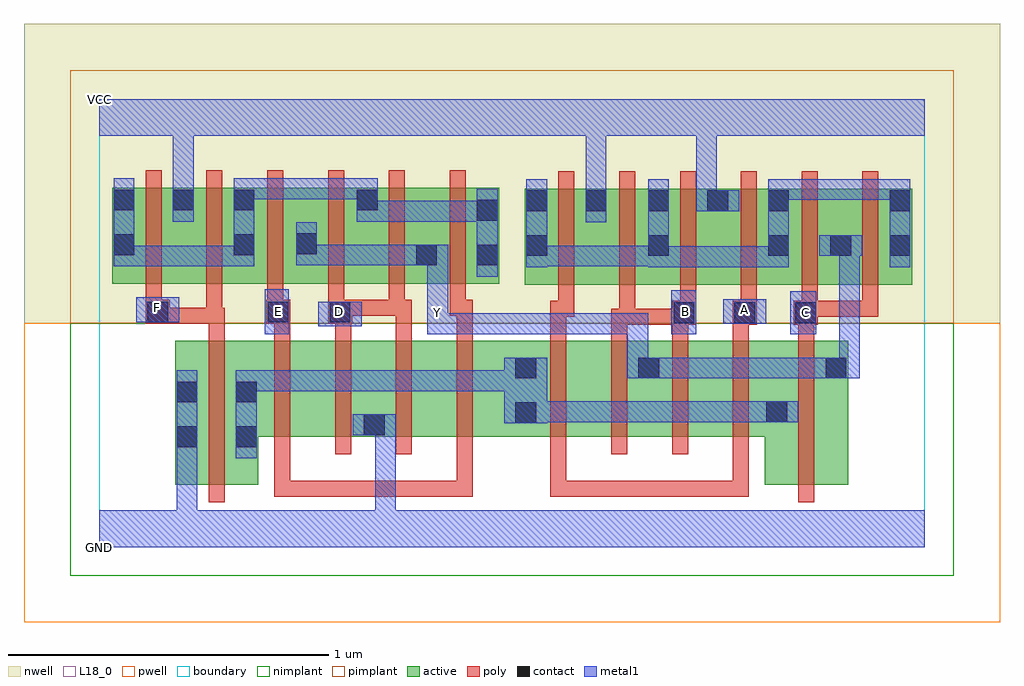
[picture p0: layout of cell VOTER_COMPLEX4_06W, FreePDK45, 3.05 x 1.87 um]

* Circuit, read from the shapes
.subckt VOTER_COMPLEX4_06W A B C D E F GND VCC Y
M1 n1 F GND VSUBS nfet w=0.45u l=0.05u
M2 n2 E n1 VSUBS nfet w=0.3u l=0.05u
M3 GND D n2 VSUBS nfet w=0.3u l=0.05u
M4 n3 D GND VSUBS nfet w=0.3u l=0.05u
M5 n1 E n3 VSUBS nfet w=0.3u l=0.05u
M6 n4 A n1 VSUBS nfet w=0.3u l=0.05u
M7 Y B n4 VSUBS nfet w=0.3u l=0.05u
M8 n5 B Y VSUBS nfet w=0.3u l=0.05u
M9 n1 A n5 VSUBS nfet w=0.3u l=0.05u
M10 Y C n1 VSUBS nfet w=0.45u l=0.05u
M11 VCC F n6 n7 pfet w=0.3u l=0.05u m=2
M12 Y E n6 n7 pfet w=0.3u l=0.05u m=2
M13 n6 D Y n7 pfet w=0.3u l=0.05u m=2
M14 VCC A n8 n7 pfet w=0.3u l=0.05u m=2
M15 n8 B VCC n7 pfet w=0.3u l=0.05u m=2
M16 Y C n8 n7 pfet w=0.3u l=0.05u m=2
.ends

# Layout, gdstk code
import gdstk
lib = gdstk.Library(unit=1e-6, precision=1e-09)
def R(c, l, rs):  # rectangles x0, y0, x1, y1
    for r in rs: c.add(gdstk.rectangle(r[:2], r[2:], *l))
def A(c, l, x, y, w, h, nx, ny, dx, dy):  # array of equal rectangles
    R(c, l, [(x+i*dx, y+j*dy, x+i*dx+w, y+j*dy+h) for i in range(nx) for j in range(ny)])
active = (1, 0)
pwell = (2, 0)
nwell = (3, 0)
nimplant = (4, 0)
pimplant = (5, 0)
poly = (9, 0)
contact = (10, 0)
metal1 = (11, 0)
L18_0 = (18, 0)
boundary = (235, 0)

voter_complex4_06w = lib.new_cell('VOTER_COMPLEX4_06W')
R(voter_complex4_06w, active, [(0.237,0.195,0.312,0.645), (0.237,0.195,0.497,0.645), (2.08,0.195,2.34,0.645), (2.265,0.195,2.34,0.645), (0.422,0.2,0.497,0.645), (2.08,0.2,2.155,0.46), (0.422,0.345,0.667,0.645), (0.667,0.345,0.897,0.645), (0.822,0.345,1.047,0.645), (0.822,0.345,0.897,0.517), (1.047,0.345,1.37,0.645), (1.295,0.345,1.37,0.597), (1.295,0.345,1.53,0.645), (1.53,0.345,1.755,0.645), (1.68,0.345,1.91,0.645), (1.68,0.345,1.755,0.597), (1.91,0.345,2.155,0.645), (1.33,0.82,1.405,1.12), (1.33,0.82,1.59,1.12), (1.515,0.82,1.59,1.12), (1.515,0.82,1.785,1.12), (1.71,0.82,1.785,1.12), (1.71,0.82,1.97,1.12), (1.895,0.82,2.16,1.12), (2.085,0.82,2.16,1.12), (2.085,0.82,2.355,1.12), (2.28,0.82,2.54,1.12), (2.465,0.82,2.54,1.12), (0.04,0.822,0.115,1.122), (0.04,0.822,0.3,1.122), (0.225,0.822,0.3,1.122), (0.225,0.822,0.49,1.122), (0.415,0.822,0.49,1.122), (0.415,0.822,0.685,1.122), (0.61,0.822,0.875,1.122), (0.8,0.822,1.06,1.122), (0.985,0.822,1.25,1.122), (1.175,0.822,1.25,1.09), (0.8,0.827,0.875,1.122), (1.895,0.827,1.97,1.12), (0.985,0.875,1.06,1.055), (2.28,0.905,2.355,1.055), (0.61,0.91,0.685,1.055)])
R(voter_complex4_06w, pwell, [(-0.235,-0.235,2.815,0.7)])
R(voter_complex4_06w, nwell, [(-0.235,0.7,2.815,1.635)])
R(voter_complex4_06w, nimplant, [(-0.09,-0.09,2.67,0.7)])
R(voter_complex4_06w, pimplant, [(-0.09,0.7,2.67,1.49)])
A(voter_complex4_06w, poly, 0.547, 0.29, 0.05, 0.41, 4, 1, 0.19, 0)
A(voter_complex4_06w, poly, 1.41, 0.29, 0.05, 0.41, 4, 1, 0.19, 0)
A(voter_complex4_06w, poly, 1.6, 0.65, 0.05, 0.095, 3, 1, 0.19, 0)
A(voter_complex4_06w, poly, 1.79, 0.695, 0.075, 0.075, 3, 1, 0.19, 0)
A(voter_complex4_06w, poly, 1.815, 0.72, 0.05, 0.095, 4, 1, 0.19, 0)
A(voter_complex4_06w, poly, 0.525, 0.722, 0.05, 0.095, 4, 1, 0.19, 0)
A(voter_complex4_06w, poly, 1.435, 0.765, 0.05, 0.41, 6, 1, 0.19, 0)
A(voter_complex4_06w, poly, 0.145, 0.767, 0.05, 0.41, 6, 1, 0.19, 0)
R(voter_complex4_06w, poly, [(0.342,0.14,0.392,0.7), (2.185,0.14,2.235,0.7), (0.547,0.157,0.597,0.207), (0.547,0.157,0.597,0.207), (0.547,0.157,0.597,0.207), (0.547,0.157,0.597,0.34), (0.547,0.157,0.822,0.207), (0.772,0.157,0.822,0.207), (0.772,0.157,0.822,0.207), (0.772,0.157,0.822,0.207), (0.772,0.157,1.012,0.207), (0.962,0.157,1.012,0.207), (0.962,0.157,1.012,0.207), (0.962,0.157,1.012,0.207), (0.962,0.157,1.167,0.207), (1.117,0.157,1.167,0.207), (1.117,0.157,1.167,0.34), (1.41,0.157,1.46,0.207), (1.41,0.157,1.46,0.207), (1.41,0.157,1.46,0.207), (1.41,0.157,1.46,0.34), (1.41,0.157,1.675,0.207), (1.625,0.157,1.675,0.207), (1.625,0.157,1.675,0.207), (1.625,0.157,1.675,0.207), (1.625,0.157,1.807,0.207), (1.757,0.157,1.807,0.207), (1.757,0.157,2.03,0.207), (1.98,0.157,2.03,0.207), (1.98,0.157,2.03,0.207), (1.98,0.157,2.03,0.207), (1.98,0.157,2.03,0.34), (0.342,0.65,0.392,0.747), (0.547,0.65,0.597,0.747), (0.737,0.65,0.787,0.747), (0.927,0.65,0.977,0.772), (1.117,0.65,1.167,0.772), (1.41,0.65,1.46,0.77), (2.185,0.65,2.235,0.745), (1.6,0.695,1.675,0.745), (1.625,0.695,1.84,0.745), (1.625,0.695,1.675,0.815), (1.79,0.695,1.84,0.745), (1.79,0.695,1.84,0.745), (0.145,0.697,0.22,0.772), (0.17,0.697,0.22,0.747), (0.17,0.697,0.22,0.747), (0.17,0.697,0.385,0.747), (0.335,0.697,0.385,0.817), (0.335,0.697,0.392,0.747), (0.522,0.697,0.597,0.772), (0.715,0.697,0.79,0.772), (1.41,0.72,1.485,0.77), (1.435,0.72,1.485,0.815), (2.195,0.72,2.435,0.77), (2.385,0.72,2.435,0.77), (2.385,0.72,2.435,0.77), (2.385,0.72,2.435,0.77), (0.145,0.722,0.195,0.817), (0.74,0.722,0.79,0.772), (0.74,0.722,0.79,0.772), (0.74,0.722,0.955,0.772), (0.905,0.722,0.977,0.772), (1.095,0.722,1.167,0.772)])
A(voter_complex4_06w, contact, 1.795, 0.7, 0.065, 0.065, 3, 1, 0.19, 0)
R(voter_complex4_06w, contact, [(0.242,0.312,0.307,0.377), (0.427,0.312,0.492,0.377), (0.827,0.35,0.892,0.415), (1.3,0.387,1.365,0.452), (2.085,0.39,2.15,0.455), (0.242,0.452,0.307,0.517), (0.427,0.452,0.492,0.517), (1.3,0.527,1.365,0.592), (1.685,0.527,1.75,0.592), (2.27,0.527,2.335,0.592), (0.15,0.702,0.215,0.767), (0.527,0.702,0.592,0.767), (0.72,0.702,0.785,0.767), (0.99,0.88,1.055,0.945), (1.18,0.88,1.245,0.945), (1.335,0.91,1.4,0.975), (1.715,0.91,1.78,0.975), (2.09,0.91,2.155,0.975), (2.285,0.91,2.35,0.975), (2.47,0.91,2.535,0.975), (0.045,0.912,0.11,0.977), (0.42,0.912,0.485,0.977), (0.615,0.915,0.68,0.98), (1.18,1.02,1.245,1.085), (1.335,1.05,1.4,1.115), (1.52,1.05,1.585,1.115), (1.715,1.05,1.78,1.115), (1.9,1.05,1.965,1.115), (2.09,1.05,2.155,1.115), (2.47,1.05,2.535,1.115), (0.045,1.052,0.11,1.117), (0.23,1.052,0.295,1.117), (0.42,1.052,0.485,1.117), (0.805,1.052,0.87,1.117)])
R(voter_complex4_06w, metal1, [(0,0,2.58,0.115), (0.242,0.05,0.307,0.342), (0.862,0.05,0.927,0.115), (0.862,0.05,0.927,0.115), (0.862,0.05,0.927,0.415), (0.242,0.277,0.307,0.342), (0.242,0.277,0.307,0.342), (0.242,0.277,0.307,0.552), (0.427,0.277,0.492,0.552), (0.792,0.35,0.927,0.415), (0.862,0.35,0.927,0.415), (0.862,0.35,0.927,0.415), (1.265,0.387,1.4,0.592), (1.335,0.39,1.4,0.455), (1.335,0.39,1.4,0.455), (1.335,0.39,1.537,0.455), (1.472,0.39,1.537,0.455), (1.472,0.39,1.537,0.455), (1.472,0.39,1.537,0.455), (1.472,0.39,1.537,0.455), (1.472,0.39,1.537,0.455), (1.472,0.39,1.715,0.455), (1.65,0.39,1.715,0.455), (1.65,0.39,1.715,0.455), (1.65,0.39,1.715,0.455), (1.65,0.39,1.852,0.455), (1.787,0.39,1.852,0.455), (1.787,0.39,1.922,0.455), (1.857,0.39,1.922,0.455), (1.857,0.39,1.99,0.455), (1.925,0.39,1.99,0.455), (1.925,0.39,2.115,0.455), (2.05,0.39,2.185,0.455), (0.427,0.487,0.492,0.552), (0.427,0.487,0.492,0.552), (0.427,0.487,0.72,0.552), (0.655,0.487,0.72,0.552), (0.655,0.487,0.72,0.552), (0.655,0.487,0.72,0.552), (0.655,0.487,0.882,0.552), (0.817,0.487,0.882,0.552), (0.817,0.487,0.882,0.552), (0.817,0.487,0.882,0.552), (0.817,0.487,1.107,0.552), (1.042,0.487,1.107,0.552), (1.042,0.487,1.107,0.552), (1.042,0.487,1.107,0.552), (1.042,0.487,1.33,0.552), (1.65,0.527,1.785,0.592), (1.65,0.527,1.715,0.73), (1.72,0.527,1.852,0.592), (1.787,0.527,1.852,0.592), (1.787,0.527,1.965,0.592), (1.9,0.527,1.965,0.592), (1.9,0.527,1.99,0.592), (1.925,0.527,1.99,0.592), (1.925,0.527,2.162,0.592), (2.097,0.527,2.162,0.592), (2.097,0.527,2.3,0.592), (2.235,0.527,2.3,0.592), (2.235,0.527,2.3,0.592), (2.235,0.527,2.377,0.592), (2.312,0.527,2.377,0.592), (2.312,0.527,2.377,0.592), (2.312,0.527,2.377,0.975), (0.517,0.665,0.592,0.805), (1.025,0.665,1.262,0.73), (1.025,0.665,1.09,0.8), (1.197,0.665,1.262,0.73), (1.197,0.665,1.262,0.73), (1.197,0.665,1.262,0.73), (1.197,0.665,1.4,0.73), (1.335,0.665,1.4,0.73), (1.335,0.665,1.537,0.73), (1.472,0.665,1.537,0.73), (1.472,0.665,1.537,0.73), (1.472,0.665,1.537,0.73), (1.472,0.665,1.715,0.73), (1.65,0.665,1.715,0.73), (1.65,0.665,1.715,0.73), (1.65,0.665,1.715,0.73), (1.787,0.665,1.865,0.802), (2.16,0.665,2.24,0.8), (0.685,0.69,0.82,0.767), (1.95,0.697,2.085,0.775), (0.115,0.702,0.25,0.78), (1.025,0.735,1.09,0.945), (1.18,0.845,1.245,1.12), (1.335,0.875,1.4,1.15), (1.715,0.875,1.78,1.15), (1.715,0.875,1.852,0.94), (1.787,0.875,1.852,0.94), (1.787,0.875,1.942,0.94), (1.877,0.875,1.942,0.94), (1.877,0.875,1.99,0.94), (1.925,0.875,1.99,0.94), (1.925,0.875,2.155,0.94), (2.09,0.875,2.155,1.15), (2.47,0.875,2.535,1.15), (0.045,0.877,0.11,0.942), (0.045,0.877,0.11,0.942), (0.045,0.877,0.11,1.152), (0.045,0.877,0.347,0.942), (0.282,0.877,0.347,0.942), (0.282,0.877,0.347,0.942), (0.282,0.877,0.347,0.942), (0.282,0.877,0.485,0.942), (0.42,0.877,0.485,1.152), (1.335,0.877,1.537,0.942), (1.472,0.877,1.537,0.942), (1.472,0.877,1.537,0.942), (1.472,0.877,1.537,0.942), (1.472,0.877,1.715,0.942), (1.65,0.877,1.715,0.942), (1.65,0.877,1.78,0.942), (0.615,0.88,0.68,0.945), (0.615,0.88,0.68,0.945), (0.615,0.88,0.68,1.015), (0.615,0.88,0.882,0.945), (0.817,0.88,0.882,0.945), (0.817,0.88,0.882,0.945), (0.817,0.88,0.882,0.945), (0.817,0.88,1.02,0.945), (0.955,0.88,1.09,0.945), (2.25,0.91,2.385,0.975), (1.52,1.015,1.585,1.15), (0.23,1.017,0.295,1.152), (0.805,1.017,0.87,1.082), (0.805,1.017,0.87,1.082), (0.805,1.017,0.87,1.152), (0.805,1.017,1.107,1.082), (1.042,1.017,1.107,1.082), (1.042,1.017,1.245,1.082), (1.18,1.017,1.245,1.082), (1.18,1.017,1.245,1.082), (1.865,1.05,2,1.115), (1.865,1.05,1.93,1.35), (1.52,1.085,1.585,1.35), (2.09,1.085,2.155,1.15), (2.09,1.085,2.155,1.15), (2.09,1.085,2.155,1.15), (2.09,1.085,2.155,1.15), (2.09,1.085,2.397,1.15), (2.332,1.085,2.397,1.15), (2.332,1.085,2.535,1.15), (2.47,1.085,2.535,1.15), (2.47,1.085,2.535,1.15), (0.23,1.087,0.295,1.35), (0.42,1.087,0.485,1.152), (0.42,1.087,0.485,1.152), (0.42,1.087,0.485,1.152), (0.42,1.087,0.485,1.152), (0.42,1.087,0.63,1.152), (0.565,1.087,0.63,1.152), (0.565,1.087,0.63,1.152), (0.565,1.087,0.63,1.152), (0.565,1.087,0.87,1.152), (0,1.285,2.58,1.4), (0.23,1.285,0.295,1.35), (0.23,1.285,0.295,1.35), (1.52,1.285,1.585,1.35), (1.52,1.285,1.585,1.35), (1.865,1.285,1.93,1.35), (1.865,1.285,1.93,1.35)])
R(voter_complex4_06w, L18_0, [(0,0,2.58,0.115), (0.242,0.05,0.307,0.342), (0.862,0.05,0.927,0.115), (0.862,0.05,0.927,0.115), (0.862,0.05,0.927,0.415), (0.242,0.277,0.307,0.342), (0.242,0.277,0.307,0.342), (0.242,0.277,0.307,0.552), (0.792,0.35,0.927,0.415), (0.862,0.35,0.927,0.415), (0.862,0.35,0.927,0.415), (1.65,0.527,1.785,0.592), (1.65,0.527,1.715,0.73), (1.72,0.527,1.852,0.592), (1.787,0.527,1.852,0.592), (1.787,0.527,1.965,0.592), (1.9,0.527,1.965,0.592), (1.9,0.527,1.99,0.592), (1.925,0.527,1.99,0.592), (1.925,0.527,2.162,0.592), (2.097,0.527,2.162,0.592), (2.097,0.527,2.3,0.592), (2.235,0.527,2.3,0.592), (2.235,0.527,2.3,0.592), (2.235,0.527,2.377,0.592), (2.312,0.527,2.377,0.592), (2.312,0.527,2.377,0.592), (2.312,0.527,2.377,0.975), (0.517,0.665,0.592,0.805), (1.025,0.665,1.09,0.8), (1.025,0.665,1.262,0.73), (1.197,0.665,1.262,0.73), (1.197,0.665,1.262,0.73), (1.197,0.665,1.262,0.73), (1.197,0.665,1.4,0.73), (1.335,0.665,1.4,0.73), (1.335,0.665,1.537,0.73), (1.472,0.665,1.537,0.73), (1.472,0.665,1.537,0.73), (1.472,0.665,1.537,0.73), (1.472,0.665,1.715,0.73), (1.65,0.665,1.715,0.73), (1.65,0.665,1.715,0.73), (1.65,0.665,1.715,0.73), (1.787,0.665,1.865,0.802), (2.16,0.665,2.24,0.8), (0.685,0.69,0.82,0.767), (1.95,0.697,2.085,0.775), (1.025,0.7,1.09,0.765), (2.175,0.7,2.24,0.765), (0.115,0.702,0.25,0.78), (0.72,0.702,0.785,0.767), (1.8,0.702,1.865,0.767), (0.527,0.705,0.592,0.77), (1.985,0.71,2.05,0.775), (0.15,0.715,0.215,0.78), (1.025,0.735,1.09,0.945), (0.615,0.88,0.68,0.945), (0.615,0.88,0.68,0.945), (0.615,0.88,0.68,1.015), (0.615,0.88,0.882,0.945), (0.817,0.88,0.882,0.945), (0.817,0.88,0.882,0.945), (0.817,0.88,0.882,0.945), (0.817,0.88,1.02,0.945), (0.955,0.88,1.09,0.945), (2.25,0.91,2.385,0.975), (1.52,1.015,1.585,1.15), (0.23,1.017,0.295,1.152), (1.865,1.05,2,1.115), (1.865,1.05,1.93,1.35), (1.52,1.085,1.585,1.35), (0.23,1.087,0.295,1.35), (0,1.285,2.58,1.4), (0.23,1.285,0.295,1.35), (0.23,1.285,0.295,1.35), (1.52,1.285,1.585,1.35), (1.52,1.285,1.585,1.35), (1.865,1.285,1.93,1.35), (1.865,1.285,1.93,1.35)])
R(voter_complex4_06w, boundary, [(0,0,2.58,1.4)])
voter_complex4_06w.add(gdstk.Label('A', (2.017,0.742), layer=11, texttype=0))
voter_complex4_06w.add(gdstk.Label('B', (1.832,0.735), layer=11, texttype=0))
voter_complex4_06w.add(gdstk.Label('C', (2.207,0.732), layer=11, texttype=0))
voter_complex4_06w.add(gdstk.Label('D', (0.752,0.735), layer=11, texttype=0))
voter_complex4_06w.add(gdstk.Label('E', (0.56,0.737), layer=11, texttype=0))
voter_complex4_06w.add(gdstk.Label('F', (0.182,0.747), layer=11, texttype=0))
voter_complex4_06w.add(gdstk.Label('Y', (1.057,0.732), layer=11, texttype=0))
voter_complex4_06w.add(gdstk.Label('VCC', (0,1.4), layer=11, texttype=0))
voter_complex4_06w.add(gdstk.Label('GND', (0,0), layer=11, texttype=0))

lib.write_gds('VOTER_COMPLEX4_06W.gds')
